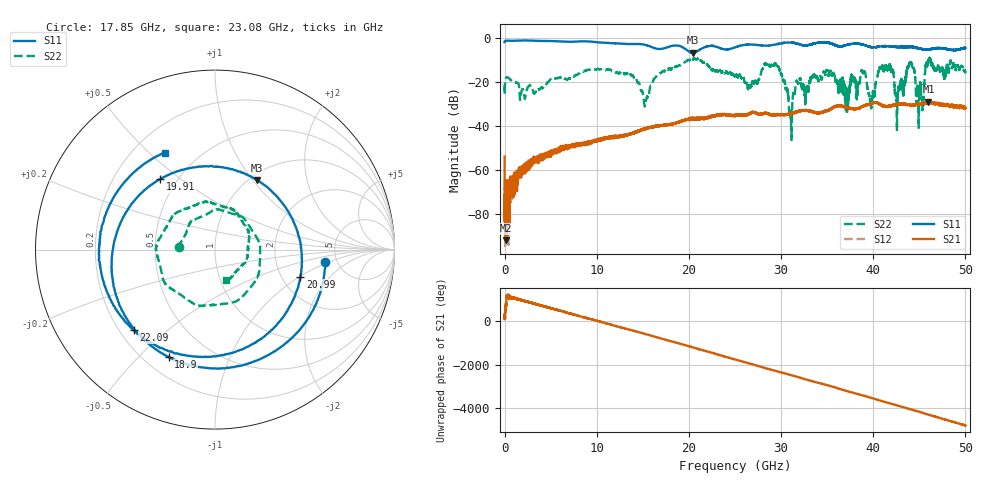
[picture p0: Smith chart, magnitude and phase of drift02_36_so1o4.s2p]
!Created with skrf (http://scikit-rf.org).
# Hz S RI R 50.0
!freq ReS11 ImS11 ReS21 ImS21 ReS12 ImS12 ReS22 ImS22
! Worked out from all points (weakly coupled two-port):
!   10001 points, 300 kHz to 50 GHz, reference 50 ohm
!   highest |S21| = -29.08 dB at 46 GHz (marker M1); lowest = -92.0 dB at 105.3 MHz (marker M2)
!   lowest |S11| = -6.9 dB at 20.41 GHz (marker M3), VSWR 2.65, Z = 54.3 + j52.6 ohm
!   |S11| at or under -10 dB: nowhere
!   |S22| runs from -46.5 to -9.1 dB; largest |S21 - S12| = 0.0031
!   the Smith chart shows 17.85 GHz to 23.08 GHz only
!   S11 on the Smith chart (normalised r, x): 17.85 GHz: 4.02, -0.88; 18.9 GHz: 0.30, -0.62; 19.91 GHz: 0.40, +0.42; 20.99 GHz: 2.51, -1.02; 22.09 GHz: 0.26, -0.39; 23.08 GHz: 0.33, +0.56
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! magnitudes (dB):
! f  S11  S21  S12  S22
! 300 kHz  -2.1  -54.1  -65.2  -21.6
! 105.3 MHz  -1.5  -92.0  -82.6  -18.7
! 8.335 GHz  -1.7  -49.0  -48.3  -15.7
! 15.33 GHz  -3.4  -41.3  -41.3  -28.9
! 16.67 GHz  -5.2  -40.2  -40.2  -17.0
! 17.85 GHz  -4.2  -39.5  -39.3  -13.9
! 18.9 GHz  -3.7  -38.4  -38.5  -12.5
! 19.91 GHz  -6.1  -37.0  -37.1  -10.1
! 20.41 GHz  -6.9  -36.4  -36.4  -10.0
! 20.99 GHz  -6.0  -36.6  -36.6  -9.7
! 22.09 GHz  -3.9  -36.1  -36.3  -12.8
! 23.08 GHz  -4.3  -35.1  -35.3  -15.0
! 25 GHz  -4.5  -35.7  -35.3  -17.5
! 29.5 GHz  -3.1  -34.9  -35.2  -12.6
! 31.03 GHz  -2.3  -34.6  -34.5  -33.7
! 33.34 GHz  -3.0  -33.4  -33.7  -18.0
! 39.74 GHz  -4.3  -30.1  -30.0  -30.6
! 41.67 GHz  -4.0  -31.1  -31.1  -13.7
! 44.17 GHz  -4.2  -30.7  -30.8  -12.0
! 44.85 GHz  -4.8  -30.3  -30.2  -26.1
! 46 GHz  -5.4  -29.1  -29.3  -10.9
! 50 GHz  -4.7  -32.0  -31.7  -15.6
